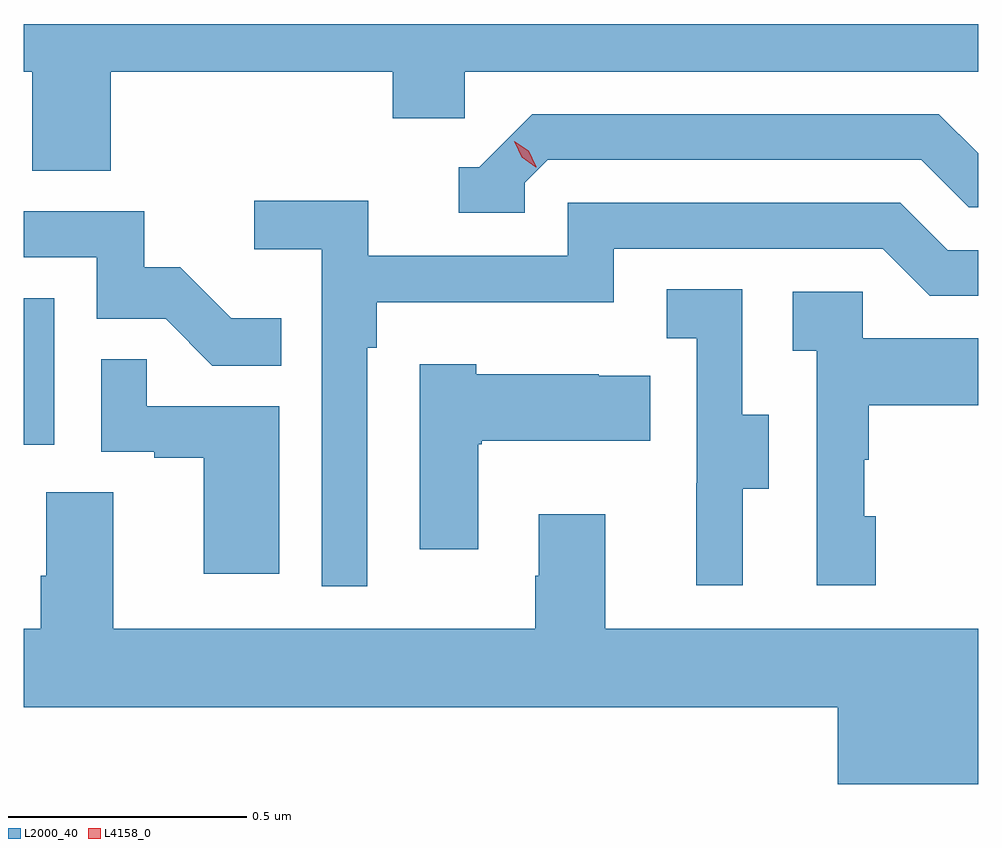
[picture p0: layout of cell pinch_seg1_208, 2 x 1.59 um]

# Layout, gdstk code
import gdstk
lib = gdstk.Library(unit=1e-6, precision=1e-09)
def R(c, l, rs):  # rectangles x0, y0, x1, y1
    for r in rs: c.add(gdstk.rectangle(r[:2], r[2:], *l))
def P(c, l, *ps):  # polygons
    for p in ps: c.add(gdstk.Polygon(p, *l))
L2000_40 = (2000, 40)
L4158_0 = (4158, 0)

pinch_seg1_208 = lib.new_cell('pinch_seg1_208')
R(pinch_seg1_208, L2000_40, [(1001.694,582.918,1001.758,583.225)])
P(pinch_seg1_208, L2000_40, [(1001.876,583.7),(1002.467,583.7),(1002.467,583.602),(1002.618,583.602),(1002.618,583.7),(1003.694,583.7),(1003.694,583.8),(1001.694,583.8),(1001.694,583.7),(1001.711,583.7),(1001.711,583.492),(1001.876,583.492)],
  [(1002.744,583.467),(1002.792,583.515),(1003.575,583.515),(1003.674,583.416),(1003.694,583.416),(1003.694,583.529),(1003.612,583.611),(1002.759,583.611),(1002.648,583.5),(1002.605,583.5),(1002.605,583.404),(1002.744,583.404)],
  [(1002.414,583.121),(1002.434,583.121),(1002.434,583.217),(1002.93,583.217),(1002.93,583.329),(1003.494,583.329),(1003.593,583.23),(1003.694,583.23),(1003.694,583.326),(1003.63,583.326),(1003.531,583.425),(1002.834,583.425),(1002.834,583.314),(1002.416,583.314),(1002.416,583.43),(1002.177,583.43),(1002.177,583.328),(1002.318,583.328),(1002.318,582.621),(1002.414,582.621)],
  [(1002.233,583.183),(1002.129,583.183),(1002.022,583.29),(1001.946,583.29),(1001.946,583.407),(1001.694,583.407),(1001.694,583.311),(1001.847,583.311),(1001.847,583.182),(1001.991,583.182),(1002.089,583.084),(1002.233,583.084)],
  [(1003.201,582.826),(1003.255,582.826),(1003.255,582.981),(1003.2,582.981),(1003.2,583.244),(1003.041,583.244),(1003.041,583.141),(1003.104,583.141),(1003.104,582.837),(1003.103,582.837),(1003.103,582.624),(1003.201,582.624)],
  [(1003.48,582.768),(1003.455,582.768),(1003.455,582.887),(1003.465,582.887),(1003.465,583.001),(1003.694,583.001),(1003.694,583.141),(1003.452,583.141),(1003.452,583.239),(1003.305,583.239),(1003.305,583.115),(1003.356,583.115),(1003.356,582.624),(1003.48,582.624)],
  [(1002.229,582.999),(1001.951,582.999),(1001.951,583.097),(1001.856,583.097),(1001.856,582.903),(1001.967,582.903),(1001.967,582.891),(1002.071,582.891),(1002.071,582.648),(1002.229,582.648)],
  [(1002.646,582.919),(1002.654,582.919),(1002.654,582.926),(1003.007,582.926),(1003.007,583.063),(1002.899,583.063),(1002.899,583.066),(1002.642,583.066),(1002.642,583.087),(1002.524,583.087),(1002.524,582.699),(1002.646,582.699)],
  [(1003.694,582.532),(1002.913,582.532),(1002.913,582.772),(1002.773,582.772),(1002.773,582.644),(1002.766,582.644),(1002.766,582.532),(1001.881,582.532),(1001.881,582.818),(1001.741,582.818),(1001.741,582.644),(1001.729,582.644),(1001.729,582.532),(1001.694,582.532),(1001.694,582.368),(1003.4,582.368),(1003.4,582.207),(1003.694,582.207)])
P(pinch_seg1_208, L4158_0, [(1002.767,583.5),(1002.737,583.521),(1002.722,583.554),(1002.722,583.554),(1002.722,583.554),(1002.752,583.534),(1002.768,583.501),(1002.768,583.5)])

lib.write_gds('pinch_seg1_208.gds')
